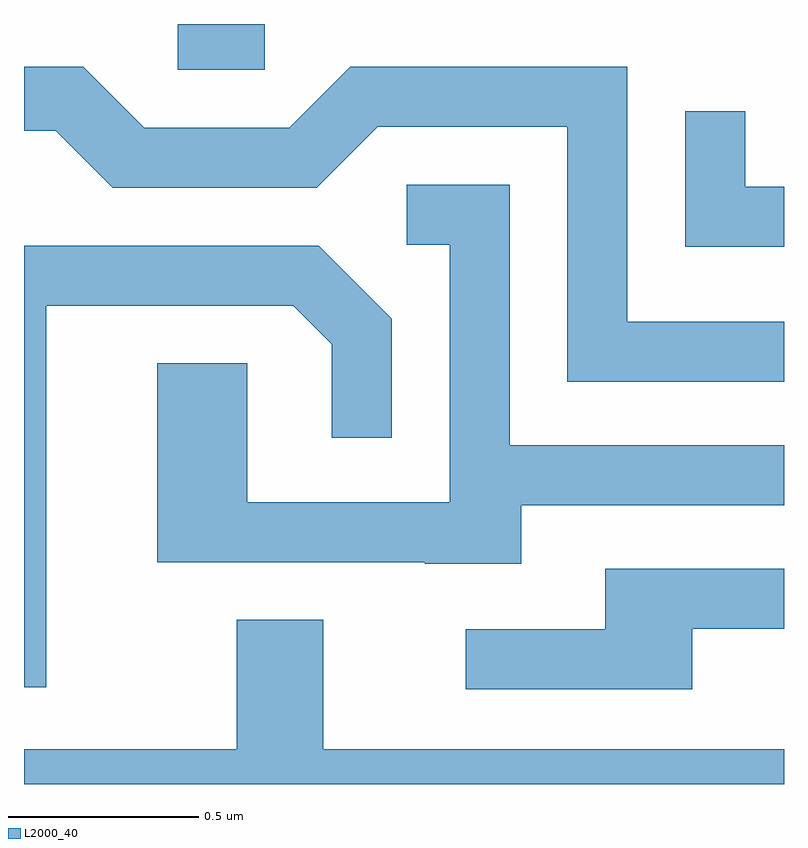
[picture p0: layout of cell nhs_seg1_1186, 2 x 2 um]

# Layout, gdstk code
import gdstk
lib = gdstk.Library(unit=1e-6, precision=1e-09)
def R(c, l, rs):  # rectangles x0, y0, x1, y1
    for r in rs: c.add(gdstk.rectangle(r[:2], r[2:], *l))
def P(c, l, *ps):  # polygons
    for p in ps: c.add(gdstk.Polygon(p, *l))
L2000_40 = (2000, 40)

nhs_seg1_1186 = lib.new_cell('nhs_seg1_1186')
R(nhs_seg1_1186, L2000_40, [(194.016,941.591,194.244,941.712)])
P(nhs_seg1_1186, L2000_40, [(195.611,940.929),(195.199,940.929),(195.199,941.599),(194.469,941.599),(194.309,941.439),(193.927,941.439),(193.767,941.599),(193.611,941.599),(193.611,941.431),(193.694,941.431),(193.844,941.281),(194.382,941.281),(194.542,941.441),(195.041,941.441),(195.041,940.771),(195.611,940.771)],
  [(195.611,941.284),(195.509,941.284),(195.509,941.483),(195.351,941.483),(195.351,941.126),(195.611,941.126)],
  [(194.919,940.446),(195.611,940.446),(195.611,940.604),(194.889,940.604),(194.889,941.289),(194.618,941.289),(194.618,941.131),(194.731,941.131),(194.731,940.454),(194.199,940.454),(194.199,940.819),(193.961,940.819),(193.961,940.296),(194.665,940.296),(194.665,940.291),(194.919,940.291)],
  [(193.669,940.971),(194.319,940.971),(194.421,940.869),(194.421,940.623),(194.579,940.623),(194.579,940.937),(194.387,941.129),(193.611,941.129),(193.611,939.966),(193.669,939.966)],
  [(195.369,940.121),(195.611,940.121),(195.611,940.279),(195.141,940.279),(195.141,940.119),(194.773,940.119),(194.773,939.961),(195.369,939.961)],
  [(195.611,939.804),(194.399,939.804),(194.399,940.144),(194.171,940.144),(194.171,939.804),(193.611,939.804),(193.611,939.712),(195.611,939.712)])

lib.write_gds('nhs_seg1_1186.gds')
